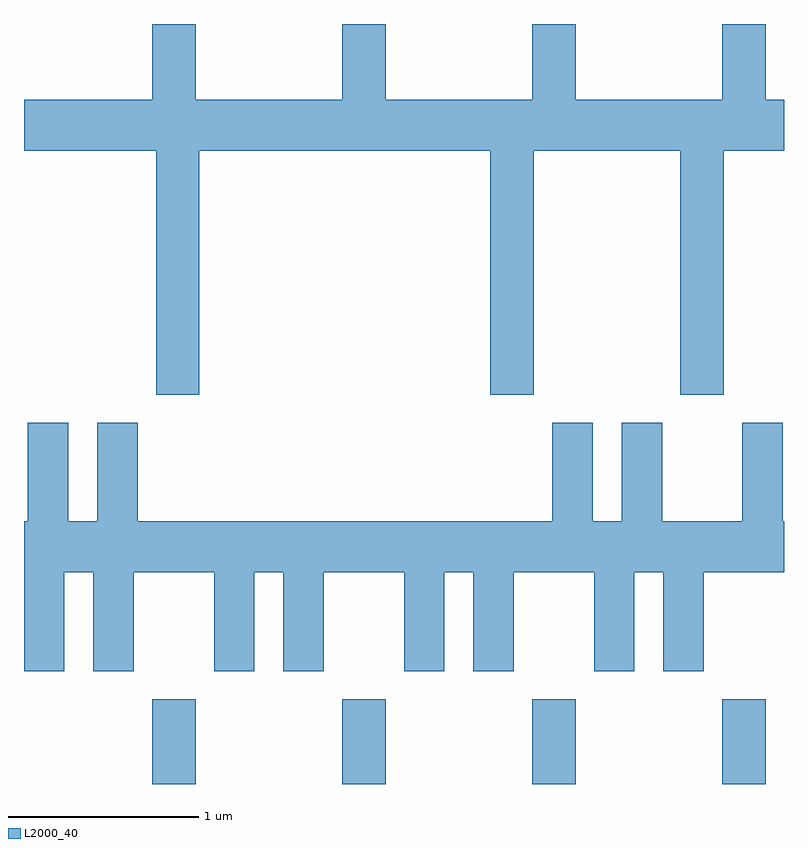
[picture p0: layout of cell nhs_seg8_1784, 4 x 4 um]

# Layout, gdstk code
import gdstk
lib = gdstk.Library(unit=1e-6, precision=1e-09)
def R(c, l, rs):  # rectangles x0, y0, x1, y1
    for r in rs: c.add(gdstk.rectangle(r[:2], r[2:], *l))
def A(c, l, x, y, w, h, nx, ny, dx, dy):  # array of equal rectangles
    R(c, l, [(x+i*dx, y+j*dy, x+i*dx+w, y+j*dy+h) for i in range(nx) for j in range(ny)])
def P(c, l, *ps):  # polygons
    for p in ps: c.add(gdstk.Polygon(p, *l))
L2000_40 = (2000, 40)

nhs_seg8_1784 = lib.new_cell('nhs_seg8_1784')
A(nhs_seg8_1784, L2000_40, 238.286, 1906.342, 0.228, 0.447, 4, 1, 1, 0)
P(nhs_seg8_1784, L2000_40, [(238.534,1909.676),(240.066,1909.676),(240.066,1908.391),(240.294,1908.391),(240.294,1909.676),(241.066,1909.676),(241.066,1908.391),(241.294,1908.391),(241.294,1909.676),(241.611,1909.676),(241.611,1909.944),(241.514,1909.944),(241.514,1910.342),(241.286,1910.342),(241.286,1909.944),(240.514,1909.944),(240.514,1910.342),(240.286,1910.342),(240.286,1909.944),(239.514,1909.944),(239.514,1910.342),(239.286,1910.342),(239.286,1909.944),(238.514,1909.944),(238.514,1910.342),(238.286,1910.342),(238.286,1909.944),(237.611,1909.944),(237.611,1909.676),(238.306,1909.676),(238.306,1908.391),(238.534,1908.391)],
  [(237.824,1907.456),(237.976,1907.456),(237.976,1906.936),(238.189,1906.936),(238.189,1907.456),(238.611,1907.456),(238.611,1906.936),(238.824,1906.936),(238.824,1907.456),(238.976,1907.456),(238.976,1906.936),(239.189,1906.936),(239.189,1907.456),(239.611,1907.456),(239.611,1906.936),(239.824,1906.936),(239.824,1907.456),(239.976,1907.456),(239.976,1906.936),(240.189,1906.936),(240.189,1907.456),(240.611,1907.456),(240.611,1906.936),(240.824,1906.936),(240.824,1907.456),(240.976,1907.456),(240.976,1906.936),(241.189,1906.936),(241.189,1907.456),(241.611,1907.456),(241.611,1907.724),(241.604,1907.724),(241.604,1908.244),(241.391,1908.244),(241.391,1907.724),(240.969,1907.724),(240.969,1908.244),(240.756,1908.244),(240.756,1907.724),(240.604,1907.724),(240.604,1908.244),(240.391,1908.244),(240.391,1907.724),(238.209,1907.724),(238.209,1908.244),(237.996,1908.244),(237.996,1907.724),(237.844,1907.724),(237.844,1908.244),(237.631,1908.244),(237.631,1907.724),(237.611,1907.724),(237.611,1906.936),(237.824,1906.936)])

lib.write_gds('nhs_seg8_1784.gds')
